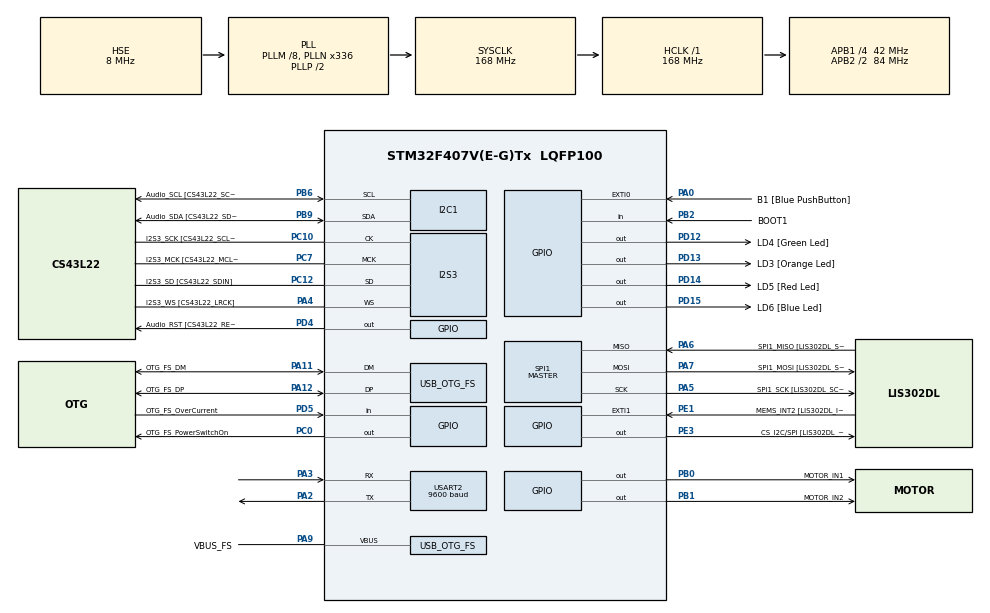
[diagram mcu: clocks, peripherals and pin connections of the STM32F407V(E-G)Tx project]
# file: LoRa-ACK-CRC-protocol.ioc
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I2S3.AudioFreq-Half_Duplex_Master=I2S_AUDIOFREQ_96K
I2S3.ErrorAudioFreq=-2.34 %
I2S3.ErrorAudioFreq-Half_Duplex_Master=0.8 %
I2S3.FullDuplexMode=I2S_FULLDUPLEXMODE_DISABLE
I2S3.Instance=SPI$Index
I2S3.RealAudioFreq=93.75 KHz
I2S3.RealAudioFreq-Half_Duplex_Master=96.774 KHz
I2S3.VirtualMode=I2S_MODE_MASTER
Mcu.Family=STM32F4
Mcu.Name=STM32F407V(E-G)Tx
Mcu.Package=LQFP100
NVIC.OTG_FS_IRQn=true\:0\:0\:false\:false\:true\:true\:true\:true
NVIC.PriorityGroup=NVIC_PRIORITYGROUP_0
NVIC.USART2_IRQn=true\:0\:0\:false\:false\:true\:true\:true\:true
PA0-WKUP.GPIO_Label=B1 [Blue PushButton]
PA0-WKUP.GPIO_ModeDefaultEXTI=GPIO_MODE_EVT_RISING
PA0-WKUP.GPIO_PuPd=GPIO_NOPULL
PA0-WKUP.Signal=GPXTI0
PA10.GPIO_Label=OTG_FS_ID
PA10.GPIO_Mode=GPIO_MODE_AF_PP
PA10.GPIO_PuPd=GPIO_NOPULL
PA10.GPIO_Speed=GPIO_SPEED_FREQ_LOW
PA10.Signal=USB_OTG_FS_ID
PA11.GPIO_Label=OTG_FS_DM
PA11.GPIO_Mode=GPIO_MODE_AF_PP
PA11.GPIO_PuPd=GPIO_NOPULL
PA11.GPIO_Speed=GPIO_SPEED_FREQ_LOW
PA11.Mode=Host_Only
PA11.Signal=USB_OTG_FS_DM
PA12.GPIO_Label=OTG_FS_DP
PA12.GPIO_Mode=GPIO_MODE_AF_PP
PA12.GPIO_PuPd=GPIO_NOPULL
PA12.GPIO_Speed=GPIO_SPEED_FREQ_LOW
PA12.Mode=Host_Only
PA12.Signal=USB_OTG_FS_DP
PA13.GPIO_Label=SWDIO
PA13.Mode=Serial_Wire
PA13.Signal=SYS_JTMS-SWDIO
PA14.GPIO_Label=SWCLK
PA14.Mode=Serial_Wire
PA14.Signal=SYS_JTCK-SWCLK
PA2.Mode=Asynchronous
PA2.Signal=USART2_TX
PA3.Mode=Asynchronous
PA3.Signal=USART2_RX
PA4.GPIO_Label=I2S3_WS [CS43L22_LRCK]
PA4.GPIO_Mode=GPIO_MODE_AF_PP
PA4.GPIO_PuPd=GPIO_NOPULL
PA4.GPIO_Speed=GPIO_SPEED_FREQ_LOW
PA4.Mode=Half_Duplex_Master
PA4.Signal=I2S3_WS
PA5.GPIO_Label=SPI1_SCK [LIS302DL_SCL/SPC]
PA5.GPIO_Mode=GPIO_MODE_AF_PP
PA5.GPIO_PuPd=GPIO_NOPULL
PA5.GPIO_Speed=GPIO_SPEED_FREQ_LOW
PA5.Mode=Full_Duplex_Master
PA5.Signal=SPI1_SCK
PA6.GPIO_Label=SPI1_MISO [LIS302DL_SDO]
PA6.GPIO_Mode=GPIO_MODE_AF_PP
PA6.GPIO_PuPd=GPIO_NOPULL
PA6.GPIO_Speed=GPIO_SPEED_FREQ_LOW
PA6.Mode=Full_Duplex_Master
PA6.Signal=SPI1_MISO
PA7.GPIO_Label=SPI1_MOSI [LIS302DL_SDA/SDI/SDO]
PA7.GPIO_Mode=GPIO_MODE_AF_PP
PA7.GPIO_PuPd=GPIO_NOPULL
PA7.GPIO_Speed=GPIO_SPEED_FREQ_LOW
PA7.Mode=Full_Duplex_Master
PA7.Signal=SPI1_MOSI
PA9.GPIO_Label=VBUS_FS
PA9.GPIO_Mode=GPIO_MODE_INPUT
PA9.GPIO_PuPd=GPIO_NOPULL
PA9.Mode=Activate_VBUS
PA9.Signal=USB_OTG_FS_VBUS
PB0.GPIO_Label=MOTOR_IN1
PB0.Signal=GPIO_Output
PB1.GPIO_Label=MOTOR_IN2
PB1.Signal=GPIO_Output
PB10.GPIO_Label=CLK_IN [MP45DT02_CLK]
PB10.GPIO_Mode=GPIO_MODE_AF_PP
PB10.GPIO_PuPd=GPIO_NOPULL
PB10.GPIO_Speed=GPIO_SPEED_FREQ_LOW
PB10.Signal=I2S2_CK
PB2.GPIO_Label=BOOT1
PB2.GPIO_Mode=GPIO_MODE_INPUT
PB2.GPIO_PuPd=GPIO_NOPULL
PB2.Signal=GPIO_Input
PB3.GPIO_Label=SWO
PB3.Signal=SYS_JTDO-SWO
PB6.GPIO_Label=Audio_SCL [CS43L22_SCL]
PB6.GPIO_Mode=GPIO_MODE_AF_OD
PB6.GPIO_Pu=GPIO_PULLUP
PB6.GPIO_PuPd=GPIO_NOPULL
PB6.GPIO_Speed=GPIO_SPEED_FREQ_LOW
PB6.Mode=I2C
PB6.Signal=I2C1_SCL
PB9.GPIO_Label=Audio_SDA [CS43L22_SDA]
PB9.GPIO_Mode=GPIO_MODE_AF_OD
PB9.GPIO_Pu=GPIO_PULLUP
PB9.GPIO_PuPd=GPIO_NOPULL
PB9.GPIO_Speed=GPIO_SPEED_FREQ_LOW
PB9.Mode=I2C
PB9.Signal=I2C1_SDA
PC0.GPIO_Label=OTG_FS_PowerSwitchOn
PC0.GPIO_PuPd=GPIO_NOPULL
PC0.GPIO_Speed=GPIO_SPEED_FREQ_LOW
PC0.PinState=GPIO_PIN_SET
PC0.Signal=GPIO_Output
PC10.GPIO_Label=I2S3_SCK [CS43L22_SCLK]
PC10.GPIO_Mode=GPIO_MODE_AF_PP
PC10.GPIO_PuPd=GPIO_NOPULL
PC10.GPIO_Speed=GPIO_SPEED_FREQ_LOW
PC10.Mode=Half_Duplex_Master
PC10.Signal=I2S3_CK
PC12.GPIO_Label=I2S3_SD [CS43L22_SDIN]
PC12.GPIO_Mode=GPIO_MODE_AF_PP
PC12.GPIO_PuPd=GPIO_NOPULL
PC12.GPIO_Speed=GPIO_SPEED_FREQ_LOW
PC12.Mode=Half_Duplex_Master
PC12.Signal=I2S3_SD
PC14-OSC32_IN.GPIO_Label=PC14-OSC32_IN
PC14-OSC32_IN.Mode=LSE-External-Oscillator
PC14-OSC32_IN.Signal=RCC_OSC32_IN
PC15-OSC32_OUT.GPIO_Label=PC15-OSC32_OUT
PC15-OSC32_OUT.Mode=LSE-External-Oscillator
PC15-OSC32_OUT.Signal=RCC_OSC32_OUT
PC3.GPIO_Label=PDM_OUT [MP45DT02_DOUT]
PC3.GPIO_Mode=GPIO_MODE_AF_PP
PC3.GPIO_PuPd=GPIO_NOPULL
PC3.GPIO_Speed=GPIO_SPEED_FREQ_LOW
PC3.Signal=I2S2_SD
PC7.GPIO_Label=I2S3_MCK [CS43L22_MCLK]
PC7.GPIO_Mode=GPIO_MODE_AF_PP
PC7.GPIO_PuPd=GPIO_NOPULL
PC7.GPIO_Speed=GPIO_SPEED_FREQ_LOW
PC7.Mode=Master_Clock_Activated
PC7.Signal=I2S3_MCK
PD12.GPIO_Label=LD4 [Green Led]
PD12.GPIO_PuPd=GPIO_NOPULL
PD12.GPIO_Speed=GPIO_SPEED_FREQ_LOW
PD12.Signal=GPIO_Output
PD13.GPIO_Label=LD3 [Orange Led]
PD13.GPIO_PuPd=GPIO_NOPULL
PD13.GPIO_Speed=GPIO_SPEED_FREQ_LOW
PD13.Signal=GPIO_Output
PD14.GPIO_Label=LD5 [Red Led]
PD14.GPIO_PuPd=GPIO_NOPULL
PD14.GPIO_Speed=GPIO_SPEED_FREQ_LOW
PD14.Signal=GPIO_Output
PD15.GPIO_Label=LD6 [Blue Led]
PD15.GPIO_PuPd=GPIO_NOPULL
PD15.GPIO_Speed=GPIO_SPEED_FREQ_LOW
PD15.Signal=GPIO_Output
PD4.GPIO_Label=Audio_RST [CS43L22_RESET]
PD4.GPIO_PuPd=GPIO_NOPULL
PD4.GPIO_Speed=GPIO_SPEED_FREQ_LOW
PD4.Signal=GPIO_Output
PD5.GPIO_Label=OTG_FS_OverCurrent
PD5.GPIO_Mode=GPIO_MODE_INPUT
PD5.GPIO_PuPd=GPIO_NOPULL
PD5.Signal=GPIO_Input
PE1.GPIO_Label=MEMS_INT2 [LIS302DL_INT2]
PE1.GPIO_ModeDefaultEXTI=GPIO_MODE_EVT_RISING
PE1.GPIO_PuPd=GPIO_NOPULL
PE1.Signal=GPXTI1
PE3.GPIO_Label=CS_I2C/SPI [LIS302DL_CS_I2C/SPI]
PE3.GPIO_PuPd=GPIO_NOPULL
PE3.GPIO_Speed=GPIO_SPEED_FREQ_LOW
PE3.Signal=GPIO_Output
PH0-OSC_IN.GPIO_Label=PH0-OSC_IN
PH0-OSC_IN.Mode=HSE-External-Oscillator
PH0-OSC_IN.Signal=RCC_OSC_IN
PH1-OSC_OUT.GPIO_Label=PH1-OSC_OUT
PH1-OSC_OUT.Mode=HSE-External-Oscillator
PH1-OSC_OUT.Signal=RCC_OSC_OUT
ProjectManager.HeapSize=0x200
ProjectManager.StackSize=0x400
ProjectManager.TargetToolchain=STM32CubeIDE
RCC.48MHZClocksFreq_Value=48000000
RCC.AHBFreq_Value=168000000
RCC.APB1CLKDivider=RCC_HCLK_DIV4
RCC.APB1Freq_Value=42000000
RCC.APB1TimFreq_Value=84000000
RCC.APB2CLKDivider=RCC_HCLK_DIV2
RCC.APB2Freq_Value=84000000
RCC.APB2TimFreq_Value=168000000
RCC.CortexFreq_Value=168000000
RCC.HCLKFreq_Value=168000000
RCC.HSE_VALUE=8000000
RCC.HSI_VALUE=16000000
RCC.PLLM=8
RCC.PLLN=336
RCC.PLLQ=7
RCC.SYSCLKFreq_VALUE=168000000
RCC.SYSCLKSource=RCC_SYSCLKSOURCE_PLLCLK
RCC.VCOOutputFreq_Value=336000000
SPI1.BaudRatePrescaler-Full_Duplex_Master=SPI_BAUDRATEPRESCALER_2
SPI1.CalculateBaudRate-Full_Duplex_Master=42.0 MBits/s
SPI1.Direction=SPI_DIRECTION_2LINES
SPI1.Mode=SPI_MODE_MASTER
SPI1.Mode-Full_Duplex_Master=SPI_MODE_MASTER
SPI1.VirtualType=VM_MASTER
USART2.BaudRate=9600
USART2.VirtualMode=VM_ASYNC
USB_HOST.BSP.number=1
USB_HOST.USBH_HandleTypeDef-CDC_FS=hUsbHostFS
USB_HOST.VirtualModeFS=Cdc
USB_HOST0.BSP.STBoard=false
USB_HOST0.BSP.api=Unknown
USB_HOST0.BSP.instance=PC0
USB_HOST0.BSP.ip=GPIO
USB_HOST0.BSP.mode=Output
USB_HOST0.BSP.name=Drive_VBUS_FS
USB_HOST0.BSP.solution=PC0
USB_OTG_FS.VirtualMode=Host_Only
USB_OTG_FS.phy_itface=HCD_PHY_EMBEDDED
VP_USB_HOST_VS_USB_HOST_CDC_FS.Mode=CDC_FS
board=STM32F407G-DISC1

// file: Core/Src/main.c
/* USER CODE BEGIN Header */
/**
  ******************************************************************************
  * @file           : main.c
  * @brief          : Main program body
  ******************************************************************************
  * @attention
  *
  * Copyright (c) 2026 STMicroelectronics.
  * All rights reserved.
  *
  * This software is licensed under terms that can be found in the LICENSE file
  * in the root directory of this software component.
  * If no LICENSE file comes with this software, it is provided AS-IS.
  *
  ******************************************************************************
  */
/* USER CODE END Header */
#include "main.h"
#include "usb_host.h"

/* USER CODE BEGIN Includes */

#include <string.h>

/* USER CODE END Includes */

/* USER CODE BEGIN PD */

#define PKT_CMD_BASLIK   0xAA
#define PKT_ACK_BASLIK   0x55
#define PKT_UZUNLUK      5

#define CMD_ILERI        0x01
#define CMD_GERI         0x02
#define CMD_DUR          0x03
#define CMD_DURUM        0x04

#define ST_OK            0x00
#define ST_BILINMEYEN    0x01

#define PAKET_ARA_MS     100
#define RB_BOYUT         64

/* USER CODE END PD */

I2C_HandleTypeDef hi2c1;

I2S_HandleTypeDef hi2s3;

SPI_HandleTypeDef hspi1;

UART_HandleTypeDef huart2;

/* USER CODE BEGIN PV */

uint8_t rx_byte;

volatile uint8_t  rb[RB_BOYUT];
volatile uint16_t rb_bas = 0, rb_son = 0;

enum { MOTOR_DUR = 0, MOTOR_ILERI = 1, MOTOR_GERI = 2 };
uint8_t motor_durumu = MOTOR_DUR;

uint8_t son_seq = 0;
uint8_t son_seq_gecerli = 0;
uint8_t son_durum_kodu = ST_OK;

uint32_t ist_paket = 0, ist_tekrar = 0, ist_crc_hata = 0;

/* USER CODE END PV */

void SystemClock_Config(void);
static void MX_GPIO_Init(void);
static void MX_I2C1_Init(void);
static void MX_I2S3_Init(void);
static void MX_SPI1_Init(void);
static void MX_USART2_UART_Init(void);
void MX_USB_HOST_Process(void);

/* USER CODE BEGIN 0 */

static uint8_t crc8(const uint8_t *d, uint8_t n)
{
  uint8_t c = 0x00;
  while (n--)
  {
    c ^= *d++;
    for (uint8_t i = 0; i < 8; i++)
      c = (c & 0x80) ? (uint8_t)((c << 1) ^ 0x07) : (uint8_t)(c << 1);
  }
  return c;
}

static void motor_pinleri(GPIO_PinState in1, GPIO_PinState in2)
{
  HAL_GPIO_WritePin(MOTOR_IN1_GPIO_Port, MOTOR_IN1_Pin, in1);
  HAL_GPIO_WritePin(MOTOR_IN2_GPIO_Port, MOTOR_IN2_Pin, in2);
}

static void motor_ayarla(uint8_t yeni)
{
  if (yeni == motor_durumu) return;

  /* Yön değişirken önce kısa dur */
  if (motor_durumu != MOTOR_DUR && yeni != MOTOR_DUR)
  {
    motor_pinleri(GPIO_PIN_RESET, GPIO_PIN_RESET);
    HAL_Delay(200);
  }

  if (yeni == MOTOR_ILERI)     motor_pinleri(GPIO_PIN_SET,   GPIO_PIN_RESET);
  else if (yeni == MOTOR_GERI) motor_pinleri(GPIO_PIN_RESET, GPIO_PIN_SET);
  else                         motor_pinleri(GPIO_PIN_RESET, GPIO_PIN_RESET);

  motor_durumu = yeni;
}

static uint8_t komut_uygula(uint8_t cmd, uint8_t veri)
{
  (void)veri;   /* ileride hız (PWM) için kullanılacak */
  switch (cmd)
  {
    case CMD_ILERI: motor_ayarla(MOTOR_ILERI); return ST_OK;
    case CMD_GERI:  motor_ayarla(MOTOR_GERI);  return ST_OK;
    case CMD_DUR:   motor_ayarla(MOTOR_DUR);   return ST_OK;
    case CMD_DURUM:                            return ST_OK;
    default:                                   return ST_BILINMEYEN;
  }
}

static void ack_gonder(uint8_t seq, uint8_t durum_kodu)
{
  uint8_t p[PKT_UZUNLUK];
  p[0] = PKT_ACK_BASLIK;
  p[1] = seq;
  p[2] = durum_kodu;
  p[3] = motor_durumu;
  p[4] = crc8(&p[1], 3);
  HAL_UART_Transmit(&huart2, p, PKT_UZUNLUK, 100);
}

static int rb_al(uint8_t *b)
{
  if (rb_bas == rb_son) return 0;
  *b = rb[rb_son];
  rb_son = (rb_son + 1) % RB_BOYUT;
  return 1;
}

/* Gelen baytları paket paket çözer; ana döngüde sürekli çağrılır */
static void paket_isle(void)
{
  static uint8_t  buf[PKT_UZUNLUK];
  static uint8_t  idx = 0;
  static uint32_t son_bayt_zamani = 0;
  uint8_t b;

  while (rb_al(&b))
  {
    uint32_t simdi = HAL_GetTick();
    if (idx > 0 && (simdi - son_bayt_zamani) > PAKET_ARA_MS) idx = 0;  /* yarım paketi at */
    son_bayt_zamani = simdi;

    if (idx == 0 && b != PKT_CMD_BASLIK) continue;   /* başlığı bekle */
    buf[idx++] = b;
    if (idx < PKT_UZUNLUK) continue;
    idx = 0;

    if (crc8(&buf[1], 3) != buf[4])
    {
      ist_crc_hata++;          /* bozuk paket: cevap verme, ESP32 tekrar gönderecek */
      continue;
    }

    uint8_t seq = buf[1];
    if (son_seq_gecerli && seq == son_seq)
    {
      /* Aynı paket tekrar geldi (bizim ACK kaybolmuş). Komutu tekrar
         uygulama, sadece ACK'yi tekrar gönder. */
      ist_tekrar++;
      ack_gonder(seq, son_durum_kodu);
      continue;
    }

    ist_paket++;
    son_durum_kodu  = komut_uygula(buf[2], buf[3]);
    son_seq         = seq;
    son_seq_gecerli = 1;
    ack_gonder(seq, son_durum_kodu);
  }
}

/* Her bayt geldiğinde HAL burayı çağırır: baytı tampona yaz, sonrakini bekle */
void HAL_UART_RxCpltCallback(UART_HandleTypeDef *huart)
{
  if (huart->Instance == USART2)
  {
    uint16_t sonraki = (rb_bas + 1) % RB_BOYUT;
    if (sonraki != rb_son)          /* tampon doluysa baytı at */
    {
      rb[rb_bas] = rx_byte;
      rb_bas = sonraki;
    }
    HAL_UART_Receive_IT(&huart2, &rx_byte, 1);
  }
}

void HAL_UART_ErrorCallback(UART_HandleTypeDef *huart)
{
  if (huart->Instance == USART2)
    HAL_UART_Receive_IT(&huart2, &rx_byte, 1);
}

/* USER CODE END 0 */

int main(void)
{

  /* MCU Configuration--------------------------------------------------------*/

  /* Reset of all peripherals, Initializes the Flash interface and the Systick. */
  HAL_Init();

  /* Configure the system clock */
  SystemClock_Config();

  /* Initialize all configured peripherals */
  MX_GPIO_Init();
  MX_I2C1_Init();
  MX_I2S3_Init();
  MX_SPI1_Init();
  MX_USART2_UART_Init();
  MX_USB_HOST_Init();
  /* USER CODE BEGIN 2 */

  motor_pinleri(GPIO_PIN_RESET, GPIO_PIN_RESET);   // açılışta motor dursun
  motor_durumu = MOTOR_DUR;
  HAL_Delay(500);                                   // E32'nin açılışını bekle
  HAL_UART_Receive_IT(&huart2, &rx_byte, 1);

  /* USER CODE END 2 */

  /* Infinite loop */
  while (1)
  {
    MX_USB_HOST_Process();

    /* USER CODE BEGIN 3 */

    paket_isle();
  }
  /* USER CODE END 3 */
}

void SystemClock_Config(void)
{
  RCC_OscInitTypeDef RCC_OscInitStruct = {0};
  RCC_ClkInitTypeDef RCC_ClkInitStruct = {0};

  /** Configure the main internal regulator output voltage
  */
  __HAL_RCC_PWR_CLK_ENABLE();
  __HAL_PWR_VOLTAGESCALING_CONFIG(PWR_REGULATOR_VOLTAGE_SCALE1);

  /** Initializes the RCC Oscillators according to the specified parameters
  * in the RCC_OscInitTypeDef structure.
  */
  RCC_OscInitStruct.OscillatorType = RCC_OSCILLATORTYPE_HSE;
  RCC_OscInitStruct.HSEState = RCC_HSE_ON;
  RCC_OscInitStruct.PLL.PLLState = RCC_PLL_ON;
  RCC_OscInitStruct.PLL.PLLSource = RCC_PLLSOURCE_HSE;
  RCC_OscInitStruct.PLL.PLLM = 8;
  RCC_OscInitStruct.PLL.PLLN = 336;
  RCC_OscInitStruct.PLL.PLLP = RCC_PLLP_DIV2;
  RCC_OscInitStruct.PLL.PLLQ = 7;
  if (HAL_RCC_OscConfig(&RCC_OscInitStruct) != HAL_OK)
  {
    Error_Handler();
  }

  /** Initializes the CPU, AHB and APB buses clocks
  */
  RCC_ClkInitStruct.ClockType = RCC_CLOCKTYPE_HCLK|RCC_CLOCKTYPE_SYSCLK
                              |RCC_CLOCKTYPE_PCLK1|RCC_CLOCKTYPE_PCLK2;
  RCC_ClkInitStruct.SYSCLKSource = RCC_SYSCLKSOURCE_PLLCLK;
  RCC_ClkInitStruct.AHBCLKDivider = RCC_SYSCLK_DIV1;
  RCC_ClkInitStruct.APB1CLKDivider = RCC_HCLK_DIV4;
  RCC_ClkInitStruct.APB2CLKDivider = RCC_HCLK_DIV2;

  if (HAL_RCC_ClockConfig(&RCC_ClkInitStruct, FLASH_LATENCY_5) != HAL_OK)
  {
    Error_Handler();
  }
}

static void MX_I2C1_Init(void)
{

  hi2c1.Instance = I2C1;
  hi2c1.Init.ClockSpeed = 100000;
  hi2c1.Init.DutyCycle = I2C_DUTYCYCLE_2;
  hi2c1.Init.OwnAddress1 = 0;
  hi2c1.Init.AddressingMode = I2C_ADDRESSINGMODE_7BIT;
  hi2c1.Init.DualAddressMode = I2C_DUALADDRESS_DISABLE;
  hi2c1.Init.OwnAddress2 = 0;
  hi2c1.Init.GeneralCallMode = I2C_GENERALCALL_DISABLE;
  hi2c1.Init.NoStretchMode = I2C_NOSTRETCH_DISABLE;
  if (HAL_I2C_Init(&hi2c1) != HAL_OK)
  {
    Error_Handler();
  }

}

static void MX_I2S3_Init(void)
{

  hi2s3.Instance = SPI3;
  hi2s3.Init.Mode = I2S_MODE_MASTER_TX;
  hi2s3.Init.Standard = I2S_STANDARD_PHILIPS;
  hi2s3.Init.DataFormat = I2S_DATAFORMAT_16B;
  hi2s3.Init.MCLKOutput = I2S_MCLKOUTPUT_ENABLE;
  hi2s3.Init.AudioFreq = I2S_AUDIOFREQ_96K;
  hi2s3.Init.CPOL = I2S_CPOL_LOW;
  hi2s3.Init.ClockSource = I2S_CLOCK_PLL;
  hi2s3.Init.FullDuplexMode = I2S_FULLDUPLEXMODE_DISABLE;
  if (HAL_I2S_Init(&hi2s3) != HAL_OK)
  {
    Error_Handler();
  }

}

static void MX_SPI1_Init(void)
{

  /* SPI1 parameter configuration*/
  hspi1.Instance = SPI1;
  hspi1.Init.Mode = SPI_MODE_MASTER;
  hspi1.Init.Direction = SPI_DIRECTION_2LINES;
  hspi1.Init.DataSize = SPI_DATASIZE_8BIT;
  hspi1.Init.CLKPolarity = SPI_POLARITY_LOW;
  hspi1.Init.CLKPhase = SPI_PHASE_1EDGE;
  hspi1.Init.NSS = SPI_NSS_SOFT;
  hspi1.Init.BaudRatePrescaler = SPI_BAUDRATEPRESCALER_2;
  hspi1.Init.FirstBit = SPI_FIRSTBIT_MSB;
  hspi1.Init.TIMode = SPI_TIMODE_DISABLE;
  hspi1.Init.CRCCalculation = SPI_CRCCALCULATION_DISABLE;
  hspi1.Init.CRCPolynomial = 10;
  if (HAL_SPI_Init(&hspi1) != HAL_OK)
  {
    Error_Handler();
  }

}

static void MX_USART2_UART_Init(void)
{

  huart2.Instance = USART2;
  huart2.Init.BaudRate = 9600;
  huart2.Init.WordLength = UART_WORDLENGTH_8B;
  huart2.Init.StopBits = UART_STOPBITS_1;
  huart2.Init.Parity = UART_PARITY_NONE;
  huart2.Init.Mode = UART_MODE_TX_RX;
  huart2.Init.HwFlowCtl = UART_HWCONTROL_NONE;
  huart2.Init.OverSampling = UART_OVERSAMPLING_16;
  if (HAL_UART_Init(&huart2) != HAL_OK)
  {
    Error_Handler();
  }

}

static void MX_GPIO_Init(void)
{
  GPIO_InitTypeDef GPIO_InitStruct = {0};

  /* GPIO Ports Clock Enable */
  __HAL_RCC_GPIOE_CLK_ENABLE();
  __HAL_RCC_GPIOC_CLK_ENABLE();
  __HAL_RCC_GPIOH_CLK_ENABLE();
  __HAL_RCC_GPIOA_CLK_ENABLE();
  __HAL_RCC_GPIOB_CLK_ENABLE();
  __HAL_RCC_GPIOD_CLK_ENABLE();

  /*Configure GPIO pin Output Level */
  HAL_GPIO_WritePin(CS_I2C_SPI_GPIO_Port, CS_I2C_SPI_Pin, GPIO_PIN_RESET);

  /*Configure GPIO pin Output Level */
  HAL_GPIO_WritePin(OTG_FS_PowerSwitchOn_GPIO_Port, OTG_FS_PowerSwitchOn_Pin, GPIO_PIN_SET);

  /*Configure GPIO pin Output Level */
  HAL_GPIO_WritePin(GPIOB, MOTOR_IN1_Pin|MOTOR_IN2_Pin, GPIO_PIN_RESET);

  /*Configure GPIO pin Output Level */
  HAL_GPIO_WritePin(GPIOD, LD4_Pin|LD3_Pin|LD5_Pin|LD6_Pin
                          |Audio_RST_Pin, GPIO_PIN_RESET);

  /*Configure GPIO pin : CS_I2C_SPI_Pin */
  GPIO_InitStruct.Pin = CS_I2C_SPI_Pin;
  GPIO_InitStruct.Mode = GPIO_MODE_OUTPUT_PP;
  GPIO_InitStruct.Pull = GPIO_NOPULL;
  GPIO_InitStruct.Speed = GPIO_SPEED_FREQ_LOW;
  HAL_GPIO_Init(CS_I2C_SPI_GPIO_Port, &GPIO_InitStruct);

  /*Configure GPIO pin : OTG_FS_PowerSwitchOn_Pin */
  GPIO_InitStruct.Pin = OTG_FS_PowerSwitchOn_Pin;
  GPIO_InitStruct.Mode = GPIO_MODE_OUTPUT_PP;
  GPIO_InitStruct.Pull = GPIO_NOPULL;
  GPIO_InitStruct.Speed = GPIO_SPEED_FREQ_LOW;
  HAL_GPIO_Init(OTG_FS_PowerSwitchOn_GPIO_Port, &GPIO_InitStruct);

  /*Configure GPIO pin : PDM_OUT_Pin */
  GPIO_InitStruct.Pin = PDM_OUT_Pin;
  GPIO_InitStruct.Mode = GPIO_MODE_AF_PP;
  GPIO_InitStruct.Pull = GPIO_NOPULL;
  GPIO_InitStruct.Speed = GPIO_SPEED_FREQ_LOW;
  GPIO_InitStruct.Alternate = GPIO_AF5_SPI2;
  HAL_GPIO_Init(PDM_OUT_GPIO_Port, &GPIO_InitStruct);

  /*Configure GPIO pin : B1_Pin */
  GPIO_InitStruct.Pin = B1_Pin;
  GPIO_InitStruct.Mode = GPIO_MODE_EVT_RISING;
  GPIO_InitStruct.Pull = GPIO_NOPULL;
  HAL_GPIO_Init(B1_GPIO_Port, &GPIO_InitStruct);

  /*Configure GPIO pins : MOTOR_IN1_Pin MOTOR_IN2_Pin */
  GPIO_InitStruct.Pin = MOTOR_IN1_Pin|MOTOR_IN2_Pin;
  GPIO_InitStruct.Mode = GPIO_MODE_OUTPUT_PP;
  GPIO_InitStruct.Pull = GPIO_NOPULL;
  GPIO_InitStruct.Speed = GPIO_SPEED_FREQ_LOW;
  HAL_GPIO_Init(GPIOB, &GPIO_InitStruct);

  /*Configure GPIO pin : BOOT1_Pin */
  GPIO_InitStruct.Pin = BOOT1_Pin;
  GPIO_InitStruct.Mode = GPIO_MODE_INPUT;
  GPIO_InitStruct.Pull = GPIO_NOPULL;
  HAL_GPIO_Init(BOOT1_GPIO_Port, &GPIO_InitStruct);

  /*Configure GPIO pin : CLK_IN_Pin */
  GPIO_InitStruct.Pin = CLK_IN_Pin;
  GPIO_InitStruct.Mode = GPIO_MODE_AF_PP;
  GPIO_InitStruct.Pull = GPIO_NOPULL;
  GPIO_InitStruct.Speed = GPIO_SPEED_FREQ_LOW;
  GPIO_InitStruct.Alternate = GPIO_AF5_SPI2;
  HAL_GPIO_Init(CLK_IN_GPIO_Port, &GPIO_InitStruct);

  /*Configure GPIO pins : LD4_Pin LD3_Pin LD5_Pin LD6_Pin
                           Audio_RST_Pin */
  GPIO_InitStruct.Pin = LD4_Pin|LD3_Pin|LD5_Pin|LD6_Pin
                          |Audio_RST_Pin;
  GPIO_InitStruct.Mode = GPIO_MODE_OUTPUT_PP;
  GPIO_InitStruct.Pull = GPIO_NOPULL;
  GPIO_InitStruct.Speed = GPIO_SPEED_FREQ_LOW;
  HAL_GPIO_Init(GPIOD, &GPIO_InitStruct);

  /*Configure GPIO pin : OTG_FS_OverCurrent_Pin */
  GPIO_InitStruct.Pin = OTG_FS_OverCurrent_Pin;
  GPIO_InitStruct.Mode = GPIO_MODE_INPUT;
  GPIO_InitStruct.Pull = GPIO_NOPULL;
  HAL_GPIO_Init(OTG_FS_OverCurrent_GPIO_Port, &GPIO_InitStruct);

  /*Configure GPIO pin : MEMS_INT2_Pin */
  GPIO_InitStruct.Pin = MEMS_INT2_Pin;
  GPIO_InitStruct.Mode = GPIO_MODE_EVT_RISING;
  GPIO_InitStruct.Pull = GPIO_NOPULL;
  HAL_GPIO_Init(MEMS_INT2_GPIO_Port, &GPIO_InitStruct);

}

void Error_Handler(void)
{
  __disable_irq();
  while (1)
  {
  }
}
